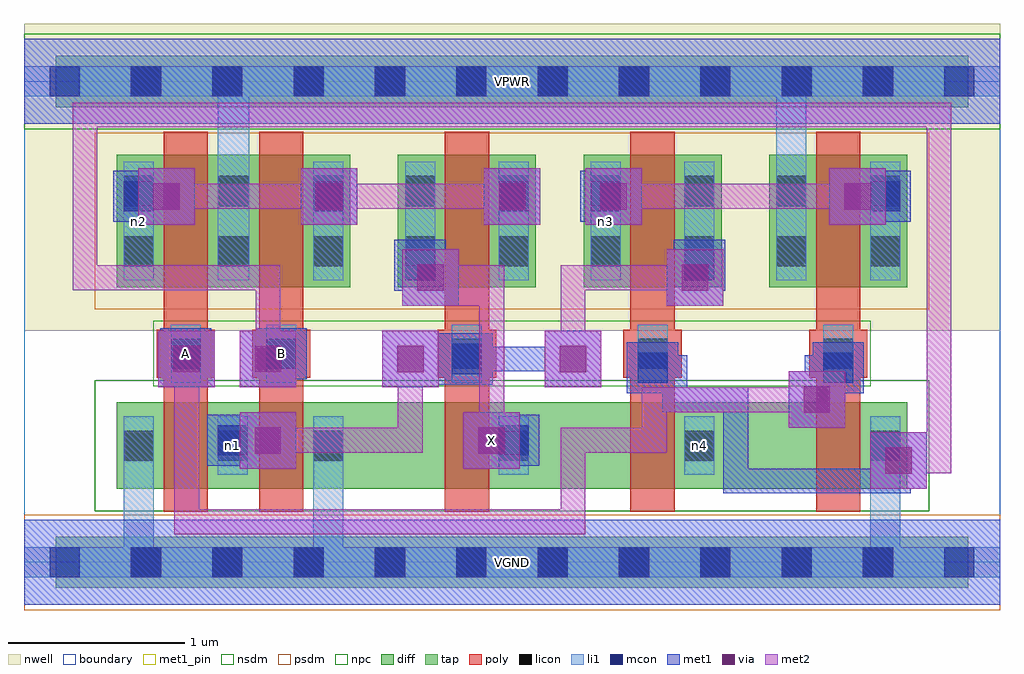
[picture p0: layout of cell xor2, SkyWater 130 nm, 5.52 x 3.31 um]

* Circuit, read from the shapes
.subckt xor2 A B VGND VPWR X n1 n2 n3 n4
XM1 n1 A VGND VGND sky130_fd_pr__nfet_01v8 w=0.49 l=0.25
XM2 VGND B n1 VGND sky130_fd_pr__nfet_01v8 w=0.49 l=0.25
XM3 X n1 VGND VGND sky130_fd_pr__nfet_01v8 w=0.49 l=0.25
XM4 n4 B X VGND sky130_fd_pr__nfet_01v8 w=0.49 l=0.25
XM5 VGND A n4 VGND sky130_fd_pr__nfet_01v8 w=0.49 l=0.25
XM6 VPWR A n2 VPWR sky130_fd_pr__pfet_01v8 w=0.75 l=0.25
XM7 n2 B VPWR VPWR sky130_fd_pr__pfet_01v8 w=0.75 l=0.25
XM8 n2 n1 X VPWR sky130_fd_pr__pfet_01v8 w=0.75 l=0.25
XM9 n1 B n3 VPWR sky130_fd_pr__pfet_01v8 w=0.75 l=0.25
XM10 n3 A VPWR VPWR sky130_fd_pr__pfet_01v8 w=0.75 l=0.25
.ends

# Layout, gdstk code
import gdstk
lib = gdstk.Library(unit=1e-6, precision=1e-09)
def R(c, l, rs):  # rectangles x0, y0, x1, y1
    for r in rs: c.add(gdstk.rectangle(r[:2], r[2:], *l))
def A(c, l, x, y, w, h, nx, ny, dx, dy):  # array of equal rectangles
    R(c, l, [(x+i*dx, y+j*dy, x+i*dx+w, y+j*dy+h) for i in range(nx) for j in range(ny)])
nwell = (64, 20)
diff = (65, 20)
tap = (65, 44)
poly = (66, 20)
licon = (66, 44)
li1 = (67, 20)
mcon = (67, 44)
met1_pin = (68, 16)
met1 = (68, 20)
via = (68, 44)
met2 = (69, 20)
nsdm = (93, 44)
psdm = (94, 20)
npc = (95, 20)
boundary = (235, 4)

xor2 = lib.new_cell('xor2')
R(xor2, nwell, [(0,1.31,5.52,3.045)])
A(xor2, diff, 1.065, 1.555, 0.78, 0.75, 4, 1, 1.05, 0)
R(xor2, diff, [(0.525,0.415,4.995,0.905), (0.525,1.555,1.305,2.305)])
R(xor2, tap, [(0.18,-0.145,5.34,0.145), (0.18,2.575,5.34,2.865)])
A(xor2, poly, 1.33, 0.285, 0.25, 2.15, 4, 1, 1.05, 0)
A(xor2, poly, 1.29, 1.045, 0.33, 0.27, 4, 1, 1.05, 0)
R(xor2, poly, [(0.79,0.285,1.04,2.435), (0.75,1.045,1.08,1.315)])
A(xor2, licon, 0.605, -0.085, 0.17, 0.17, 10, 2, 0.46, 2.72)
A(xor2, licon, 1.635, 0.575, 0.17, 0.17, 4, 1, 1.05, 0)
A(xor2, licon, 1.37, 1.095, 0.17, 0.17, 4, 1, 1.05, 0)
R(xor2, licon, [(0.565,0.575,0.735,0.745), (1.095,0.575,1.265,0.745), (0.83,1.095,1,1.265), (0.565,1.675,0.735,1.845), (1.095,1.675,1.265,1.845), (1.105,1.675,1.275,1.845), (1.635,1.675,1.805,1.845), (2.155,1.675,2.325,1.845), (2.685,1.675,2.855,1.845), (3.205,1.675,3.375,1.845), (3.735,1.675,3.905,1.845), (4.255,1.675,4.425,1.845), (4.785,1.675,4.955,1.845), (0.565,2.015,0.735,2.185), (1.095,2.015,1.265,2.185), (1.105,2.015,1.275,2.185), (1.635,2.015,1.805,2.185), (2.155,2.015,2.325,2.185), (2.685,2.015,2.855,2.185), (3.205,2.015,3.375,2.185), (3.735,2.015,3.905,2.185), (4.255,2.015,4.425,2.185), (4.785,2.015,4.955,2.185)])
A(xor2, li1, 1.635, 0.495, 0.17, 0.33, 4, 1, 1.05, 0)
A(xor2, li1, 1.37, 1.015, 0.17, 0.33, 4, 1, 1.05, 0)
R(xor2, li1, [(0,-0.085,5.52,0.085), (0.565,-0.085,0.735,0.825), (1.635,-0.085,1.805,0.825), (4.785,-0.085,4.955,0.825), (0.565,0.495,0.735,0.825), (1.095,0.495,1.265,0.825), (0.83,1.015,1,1.345), (0.565,1.595,0.735,2.265), (1.095,1.595,1.265,2.265), (1.095,1.595,1.265,2.805), (1.105,1.595,1.275,2.265), (1.105,1.595,1.275,2.805), (1.635,1.595,1.805,2.265), (2.155,1.595,2.325,2.265), (2.685,1.595,2.855,2.265), (3.205,1.595,3.375,2.265), (3.735,1.595,3.905,2.265), (4.255,1.595,4.425,2.265), (4.255,1.595,4.425,2.805), (4.785,1.595,4.955,2.265), (0,2.635,5.52,2.805)])
A(xor2, mcon, 0.145, -0.085, 0.17, 0.17, 12, 2, 0.46, 2.72)
R(xor2, mcon, [(1.095,0.605,1.265,0.775), (2.685,0.605,2.855,0.775), (3.47,1.015,3.64,1.185), (4.52,1.015,4.69,1.185), (2.42,1.065,2.59,1.235), (0.83,1.095,1,1.265), (1.37,1.095,1.54,1.265), (2.155,1.595,2.325,1.765), (3.735,1.595,3.905,1.765), (0.565,1.985,0.735,2.155), (1.635,1.985,1.805,2.155), (2.685,1.985,2.855,2.155), (3.205,1.985,3.375,2.155), (4.785,1.985,4.955,2.155)])
R(xor2, met1_pin, [(0,-0.24,5.52,0.24), (2.485,0.53,2.805,0.85), (0.77,1.035,1.06,1.325), (1.31,1.035,1.6,1.325), (0,2.48,5.52,2.96)])
R(xor2, met1, [(0,-0.24,5.52,0.24), (3.955,0.39,5.015,0.53), (3.955,0.39,4.095,0.99), (4.875,0.39,5.015,0.645), (4.785,0.415,5.105,0.735), (1.22,0.53,1.54,0.85), (2.485,0.53,2.805,0.85), (1.035,0.545,1.325,0.835), (2.625,0.545,2.915,0.835), (1.11,0.62,1.45,0.76), (2.575,0.62,2.84,0.76), (4.325,0.76,4.645,1.08), (3.61,0.85,3.75,1.17), (3.61,0.85,4.095,0.99), (4.415,0.85,4.555,1.17), (3.41,0.955,3.7,1.245), (4.46,0.955,4.75,1.245), (0.76,0.99,1.08,1.31), (1.22,0.99,1.54,1.31), (2.025,0.99,2.345,1.31), (2.945,0.99,3.265,1.31), (2.345,1.005,2.36,1.295), (2.36,1.005,2.65,1.295), (3.485,1.03,3.75,1.17), (4.415,1.03,4.675,1.17), (0.77,1.035,1.06,1.325), (1.31,1.035,1.6,1.325), (0.85,1.08,0.99,1.22), (1.31,1.08,1.45,1.22), (2.115,1.08,2.485,1.22), (2.345,1.08,2.575,1.22), (2.345,1.08,3.175,1.22), (2.14,1.45,2.46,1.77), (3.635,1.45,3.955,1.77), (2.095,1.535,2.385,1.825), (3.675,1.535,3.965,1.825), (2.23,1.54,2.37,1.75), (3.725,1.54,3.865,1.75), (2.17,1.61,2.37,1.75), (3.725,1.61,3.89,1.75), (0.645,1.91,0.965,2.23), (1.565,1.91,1.885,2.23), (2.6,1.91,2.92,2.23), (3.175,1.91,3.495,2.23), (4.555,1.91,4.875,2.23), (0.505,1.925,0.795,2.215), (1.575,1.925,1.865,2.215), (2.625,1.925,2.915,2.215), (3.145,1.925,3.435,2.215), (4.725,1.925,5.015,2.215), (0.58,2,0.875,2.14), (1.65,2,1.795,2.14), (2.69,2,2.84,2.14), (3.22,2,3.405,2.14), (4.645,2,4.94,2.14), (0,2.48,5.52,2.96)])
R(xor2, via, [(4.87,0.5,5.02,0.65), (1.305,0.615,1.455,0.765), (2.57,0.615,2.72,0.765), (4.41,0.845,4.56,0.995), (0.845,1.075,0.995,1.225), (1.305,1.075,1.455,1.225), (2.11,1.075,2.26,1.225), (3.03,1.075,3.18,1.225), (2.225,1.535,2.375,1.685), (3.72,1.535,3.87,1.685), (0.73,1.995,0.88,2.145), (1.65,1.995,1.8,2.145), (2.685,1.995,2.835,2.145), (3.26,1.995,3.41,2.145), (4.64,1.995,4.79,2.145)])
R(xor2, met2, [(0.85,0.16,0.99,1.22), (0.85,0.16,3.175,0.3), (3.035,0.16,3.175,0.76), (4.785,0.415,5.105,0.735), (4.875,0.505,5.245,0.645), (5.105,0.505,5.245,2.6), (1.22,0.53,1.54,0.85), (2.485,0.53,2.805,0.85), (1.31,0.62,2.255,0.76), (2.115,0.62,2.255,1.22), (2.575,0.62,2.715,1.68), (3.035,0.62,3.635,0.76), (3.495,0.62,3.635,0.99), (4.325,0.76,4.645,1.08), (3.495,0.85,4.555,0.99), (0.76,0.99,1.08,1.31), (1.22,0.99,1.54,1.31), (2.025,0.99,2.345,1.31), (2.945,0.99,3.265,1.31), (1.31,1.08,1.45,1.68), (3.035,1.08,3.175,1.68), (2.14,1.45,2.46,1.77), (2.46,1.45,2.575,1.68), (3.635,1.45,3.955,1.77), (0.275,1.54,0.415,2.6), (0.275,1.54,1.45,1.68), (2.23,1.54,2.715,1.68), (3.035,1.54,3.865,1.68), (0.645,1.91,0.965,2.23), (1.565,1.91,1.885,2.23), (2.6,1.91,2.92,2.23), (3.175,1.91,3.495,2.23), (4.555,1.91,4.875,2.23), (0.735,2,1.795,2.14), (1.655,2,2.83,2.14), (3.265,2,4.785,2.14), (0.275,2.46,5.245,2.6)])
R(xor2, nsdm, [(0.4,0.29,5.12,1.03), (0,2.45,5.52,2.99)])
R(xor2, psdm, [(0,-0.27,5.52,0.27), (0.4,1.43,5.12,2.43)])
R(xor2, npc, [(0.73,0.995,4.79,1.365)])
R(xor2, boundary, [(0,0,5.52,2.72)])
xor2.add(gdstk.Label('n1', (1.18,0.66), layer=67, texttype=5))
xor2.add(gdstk.Label('n4', (3.82,0.66), layer=67, texttype=5))
xor2.add(gdstk.Label('n2', (0.65,1.93), layer=67, texttype=5))
xor2.add(gdstk.Label('n3', (3.29,1.93), layer=67, texttype=5))
xor2.add(gdstk.Label('A', (0.915,1.18), layer=68, texttype=5))
xor2.add(gdstk.Label('B', (1.455,1.18), layer=68, texttype=5))
xor2.add(gdstk.Label('X', (2.645,0.69), layer=68, texttype=5))
xor2.add(gdstk.Label('VPWR', (2.76,2.72), layer=68, texttype=5))
xor2.add(gdstk.Label('VGND', (2.76,0), layer=68, texttype=5))
xor2.add(gdstk.Label('A', (0.915,1.18), layer=68, texttype=16))
xor2.add(gdstk.Label('B', (1.455,1.18), layer=68, texttype=16))
xor2.add(gdstk.Label('X', (2.645,0.69), layer=68, texttype=16))
xor2.add(gdstk.Label('VPWR', (2.76,2.72), layer=68, texttype=16))
xor2.add(gdstk.Label('VGND', (2.76,0), layer=68, texttype=16))

lib.write_gds('xor2.gds')
